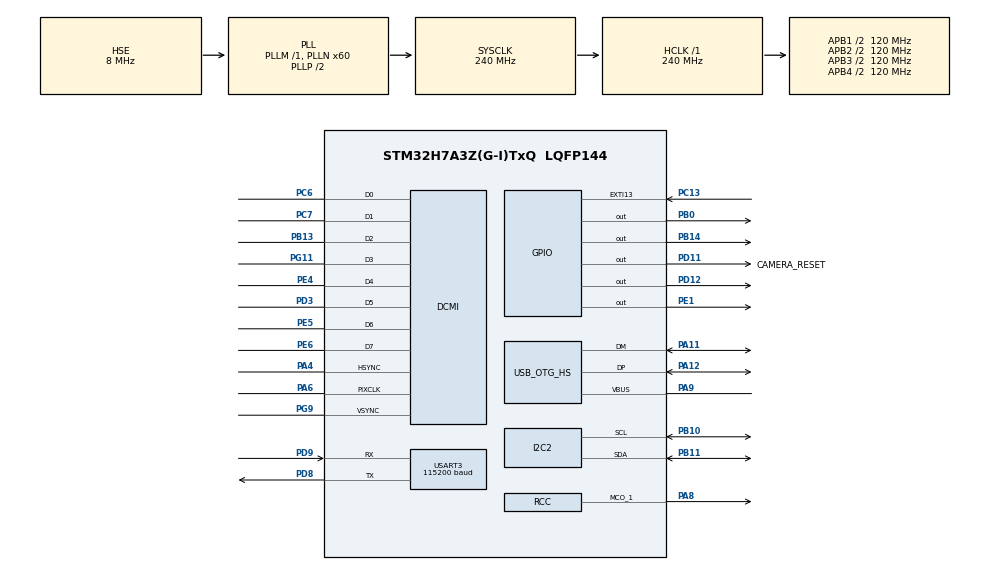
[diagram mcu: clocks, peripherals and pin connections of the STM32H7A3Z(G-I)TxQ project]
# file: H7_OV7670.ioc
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CORTEX_M7.default_mode_Activation=1
DCMI.PCKPolarity=DCMI_PCKPOLARITY_RISING
DCMI.VSPolarity=DCMI_VSPOLARITY_HIGH
Dma.DCMI.0.Direction=DMA_PERIPH_TO_MEMORY
Dma.DCMI.0.EventEnable=DISABLE
Dma.DCMI.0.FIFOMode=DMA_FIFOMODE_DISABLE
Dma.DCMI.0.Instance=DMA1_Stream0
Dma.DCMI.0.MemDataAlignment=DMA_MDATAALIGN_WORD
Dma.DCMI.0.MemInc=DMA_MINC_ENABLE
Dma.DCMI.0.Mode=DMA_NORMAL
Dma.DCMI.0.PeriphDataAlignment=DMA_PDATAALIGN_WORD
Dma.DCMI.0.PeriphInc=DMA_PINC_DISABLE
Dma.DCMI.0.Polarity=HAL_DMAMUX_REQ_GEN_RISING
Dma.DCMI.0.Priority=DMA_PRIORITY_LOW
Dma.DCMI.0.RequestNumber=1
Dma.DCMI.0.SignalID=NONE
Dma.DCMI.0.SyncEnable=DISABLE
Dma.DCMI.0.SyncPolarity=HAL_DMAMUX_SYNC_NO_EVENT
Dma.DCMI.0.SyncRequestNumber=1
Dma.DCMI.0.SyncSignalID=NONE
Dma.Request0=DCMI
I2C2.Timing=0x307075B1
Mcu.Family=STM32H7
Mcu.Name=STM32H7A3Z(G-I)TxQ
Mcu.Package=LQFP144
NVIC.DCMI_PSSI_IRQn=true\:0\:0\:false\:false\:true\:true\:true\:true
NVIC.DMA1_Stream0_IRQn=true\:0\:0\:false\:false\:true\:false\:true\:true
NVIC.EXTI15_10_IRQn=true\:0\:0\:false\:false\:true\:false\:true\:true
NVIC.OTG_HS_IRQn=true\:0\:0\:false\:false\:true\:false\:true\:true
NVIC.PriorityGroup=NVIC_PRIORITYGROUP_4
NVIC.USART3_IRQn=true\:0\:0\:false\:false\:true\:true\:true\:true
PA11.Mode=Device_Only_FS
PA11.Signal=USB_OTG_HS_DM
PA12.Mode=Device_Only_FS
PA12.Signal=USB_OTG_HS_DP
PA4.GPIO_PuPd=GPIO_PULLDOWN
PA4.GPIO_Speed=GPIO_SPEED_FREQ_VERY_HIGH
PA4.Mode=Slave_8_bits_External_Synchro
PA4.Signal=DCMI_HSYNC
PA6.GPIO_PuPd=GPIO_PULLDOWN
PA6.GPIO_Speed=GPIO_SPEED_FREQ_VERY_HIGH
PA6.Mode=Slave_8_bits_External_Synchro
PA6.Signal=DCMI_PIXCLK
PA8.Mode=Clock-out-1
PA8.Signal=RCC_MCO_1
PA9.Mode=Activate_VBUS_FS
PA9.Signal=USB_OTG_HS_VBUS
PB0.Signal=GPIO_Output
PB10.GPIO_Pu=GPIO_PULLUP
PB10.GPIO_Speed=GPIO_SPEED_FREQ_VERY_HIGH
PB10.Mode=I2C
PB10.Signal=I2C2_SCL
PB11.GPIO_Pu=GPIO_PULLUP
PB11.GPIO_Speed=GPIO_SPEED_FREQ_VERY_HIGH
PB11.Mode=I2C
PB11.Signal=I2C2_SDA
PB13.GPIO_PuPd=GPIO_PULLDOWN
PB13.GPIO_Speed=GPIO_SPEED_FREQ_VERY_HIGH
PB13.Mode=Slave_8_bits_External_Synchro
PB13.Signal=DCMI_D2
PB14.Signal=GPIO_Output
PC13.GPIO_PuPd=GPIO_NOPULL
PC13.Signal=GPXTI13
PC14-OSC32_IN.GPIO_Label=OSC32_IN
PC14-OSC32_IN.Signal=RCC_OSC32_IN
PC15-OSC32_OUT.GPIO_Label=OSC32_OUT
PC15-OSC32_OUT.Signal=RCC_OSC32_OUT
PC6.GPIO_PuPd=GPIO_PULLDOWN
PC6.GPIO_Speed=GPIO_SPEED_FREQ_VERY_HIGH
PC6.Mode=Slave_8_bits_External_Synchro
PC6.Signal=DCMI_D0
PC7.GPIO_PuPd=GPIO_PULLDOWN
PC7.GPIO_Speed=GPIO_SPEED_FREQ_VERY_HIGH
PC7.Mode=Slave_8_bits_External_Synchro
PC7.Signal=DCMI_D1
PD11.GPIO_Label=CAMERA_RESET
PD11.Signal=GPIO_Output
PD12.Signal=GPIO_Output
PD3.GPIO_PuPd=GPIO_PULLDOWN
PD3.GPIO_Speed=GPIO_SPEED_FREQ_VERY_HIGH
PD3.Mode=Slave_8_bits_External_Synchro
PD3.Signal=DCMI_D5
PD8.Mode=Asynchronous
PD8.Signal=USART3_TX
PD9.Mode=Asynchronous
PD9.Signal=USART3_RX
PE1.Signal=GPIO_Output
PE4.GPIO_PuPd=GPIO_PULLDOWN
PE4.GPIO_Speed=GPIO_SPEED_FREQ_VERY_HIGH
PE4.Mode=Slave_8_bits_External_Synchro
PE4.Signal=DCMI_D4
PE5.GPIO_PuPd=GPIO_PULLDOWN
PE5.GPIO_Speed=GPIO_SPEED_FREQ_VERY_HIGH
PE5.Mode=Slave_8_bits_External_Synchro
PE5.Signal=DCMI_D6
PE6.GPIO_PuPd=GPIO_PULLDOWN
PE6.GPIO_Speed=GPIO_SPEED_FREQ_VERY_HIGH
PE6.Mode=Slave_8_bits_External_Synchro
PE6.Signal=DCMI_D7
PG11.GPIO_PuPd=GPIO_PULLDOWN
PG11.GPIO_Speed=GPIO_SPEED_FREQ_VERY_HIGH
PG11.Mode=Slave_8_bits_External_Synchro
PG11.Signal=DCMI_D3
PG9.GPIO_PuPd=GPIO_PULLDOWN
PG9.GPIO_Speed=GPIO_SPEED_FREQ_VERY_HIGH
PG9.Mode=Slave_8_bits_External_Synchro
PG9.Signal=DCMI_VSYNC
PH0-OSC_IN.GPIO_Label=PH0-MCU
PH0-OSC_IN.Mode=HSE-External-Clock-Source
PH0-OSC_IN.Signal=RCC_OSC_IN
PH1-OSC_OUT.GPIO_Label=PH1-MCU
PH1-OSC_OUT.Signal=RCC_OSC_OUT
ProjectManager.HeapSize=0x200
ProjectManager.StackSize=0x400
ProjectManager.TargetToolchain=STM32CubeIDE
RCC.ADCFreq_Value=16125000
RCC.APB1Freq_Value=120000000
RCC.APB2Freq_Value=120000000
RCC.APB3Freq_Value=120000000
RCC.APB4Freq_Value=120000000
RCC.CDPPRE=RCC_APB3_DIV2
RCC.CDPPRE1=RCC_APB1_DIV2
RCC.CDPPRE2=RCC_APB2_DIV2
RCC.CortexFreq_Value=240000000
RCC.DIVM1=1
RCC.DIVM3=1
RCC.DIVN1=60
RCC.DIVN3=24
RCC.DIVQ1=5
RCC.DIVQ3=4
RCC.HCLKFreq_Value=240000000
RCC.HSE_VALUE=8000000
RCC.PLLFRACN=0
RCC.PLLSourceVirtual=RCC_PLLSOURCE_HSE
RCC.RCC_MCO1Source=RCC_MCO1SOURCE_PLL1QCLK
RCC.RCC_MCODiv1=RCC_MCODIV_4
RCC.SRDPPRE=RCC_APB4_DIV2
RCC.SYSCLKFreq_VALUE=240000000
RCC.SYSCLKSource=RCC_SYSCLKSOURCE_PLLCLK
RCC.SupplySource=PWR_DIRECT_SMPS_SUPPLY
RCC.USBCLockSelection=RCC_USBCLKSOURCE_PLL3
RCC.USBFreq_Value=48000000
STMicroelectronics.X-CUBE-ALGOBUILD.1.4.0.LibraryCcDSPOoLibraryJjDSPOoLibrary=true
USART3.BaudRate=115200
USART3.VirtualMode-Asynchronous=VM_ASYNC
USB_DEVICE.CLASS_NAME_HS=CDC
USB_DEVICE.VirtualMode=Cdc
USB_DEVICE.VirtualModeHS=Cdc_HS
USB_OTG_HS.VirtualMode-Device_Only_FS=Device_Only_FS
VP_MEMORYMAP_VS_MEMORYMAP.Mode=CurAppReg
VP_STMicroelectronics.X-CUBE-ALGOBUILD_VS_DSPOoLibraryJjLibrary_1.4.0_1.4.0.Mode=DSPOoLibraryJjLibrary
VP_USB_DEVICE_VS_USB_DEVICE_CDC_HS.Mode=CDC_HS
board=NUCLEO-H7A3ZI-Q

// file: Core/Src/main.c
/* USER CODE BEGIN Header */
/**
  ******************************************************************************
  * @file           : main.c
  * @brief          : Main program body
  ******************************************************************************
  * @attention
  *
  * Copyright (c) 2025 STMicroelectronics.
  * All rights reserved.
  *
  * This software is licensed under terms that can be found in the LICENSE file
  * in the root directory of this software component.
  * If no LICENSE file comes with this software, it is provided AS-IS.
  *
  ******************************************************************************
  */
/* USER CODE END Header */
#include "main.h"
#include "usb_device.h"

/* USER CODE BEGIN Includes */
#include <stdio.h>
#include <string.h>
#include <stdarg.h>
#include <math.h>
#include <stdlib.h>
#include "usbd_cdc_if.h"

#include "common.h"
#include "ov7670.h"

#include "core_cm7.h"
#include "arm_math.h"
/* USER CODE END Includes */

/* USER CODE BEGIN PTD */
typedef enum {
  MODE_CAPTURE = 0,
  MODE_SIMULATE = 1,
  MODE_RGB = 2
} operation_mode_t;

typedef struct {
  uint32_t MagicNumber;
  uint32_t Mode;           // operation_mode_t persisted as uint32
  uint32_t MaxFramerate;   // frames per second (ms precision gate)
  uint32_t DisplacedPixelThreshold;
  uint32_t ErrorThreshold;
  uint32_t Reserved[3];
} __attribute__((aligned(32))) AppConfig_t;

typedef struct {
  float dcmi_ms;
  float depth_ms;
  float usb_ms;
  uint32_t displaced_pixels;
  uint8_t has_dcmi;
  uint8_t valid;
} FrameMetricEntry;

/* USER CODE END PTD */

/* USER CODE BEGIN PD */
#define IMG_WIDTH 320
#define IMG_HEIGHT 240

#ifndef M_PI
#define M_PI 3.14159265358979323846f
#endif

#define PHASE_TO_U16_SCALE (10430.378f)	// Used convert floats to normalized uint16_t scale

// --- SIMULATION PARAMETERS ---
// Amplitude (reflectivity). Max is 4095. Must be < OFFSET.
#define SIM_AMPLITUDE 2000.0f
// Offset (ambient light).
#define SIM_OFFSET 2048

// "Depths" as phase angles (in radians)
#define PHASE_WALL_FAR   (M_PI / 1.5f)  //
#define PHASE_WALL_NEAR  (M_PI / 4.0f)  // 45 degrees
#define PHASE_CUBE_OBJ   (M_PI / 2.0f)  // 90 degrees

// Legacy checkerboard/cube parameters kept for reference
#define CHECKER_SIZE 20
#define CUBE_SIZE 40

#define WALL_PHASE_VARIATION 0.12f
#define DOOR_WIDTH 110
#define DOOR_HEIGHT 140
#define DOOR_FRAME_THICKNESS 6
#define DOOR_BOTTOM (IMG_HEIGHT - 45)
#define DOORWAY_DEPTH_BOOST 0.65f
#define DOOR_FRAME_PHASE (PHASE_WALL_NEAR - 0.04f)
#define FLOOR_NEAR_PHASE (0.08f)
#define INTRUDER_WIDTH 10
#define INTRUDER_HEIGHT (INTRUDER_WIDTH * 2)
#define ROOM2_FLOOR_INTERSECT_RATIO 0.25f
#define INTRUDER_FLOOR_CONTACT_RATIO 0.55f
#define INTRUDER_PHASE (PHASE_WALL_NEAR + 0.405f)
#define INTRUDER_SPEED 6
#define SIM_NOISE_PHASE 0.060f

#define CONFIG_FLASH_ADDR       0x081E0000U
#define CONFIG_MAGIC            0xDEADBEEFU
#define MIN_ALLOWED_FRAMERATE   1U
#define MAX_ALLOWED_FRAMERATE   120U
#define DEFAULT_MAX_FRAMERATE   30U
#define METRIC_WINDOW_SIZE      10U
#define MIN_DISPLACED_THRESHOLD  1U
#define MAX_DISPLACED_THRESHOLD  (IMG_WIDTH * IMG_HEIGHT)
#define DEFAULT_DISPLACED_THRESHOLD 1200U
#define MIN_ERROR_THRESHOLD      0U
#define MAX_ERROR_THRESHOLD      65535U
#define DEFAULT_ERROR_THRESHOLD  1820U
/* USER CODE END PD */

DCMI_HandleTypeDef hdcmi;
DMA_HandleTypeDef hdma_dcmi;

I2C_HandleTypeDef hi2c2;

UART_HandleTypeDef huart3;

/* USER CODE BEGIN PV */

#define SINGLE_FRAME_SIZE (IMG_WIDTH * IMG_HEIGHT) // 320*240 = 76800
#define NUM_FRAMES 4

// One giant buffer to hold all 4 frames contiguously
uint16_t quad_frame_buffer[SINGLE_FRAME_SIZE * NUM_FRAMES];

// One buffer to reference frame angles
uint16_t reference_angle_buffer[SINGLE_FRAME_SIZE];

// One buffer for current frame angles
uint16_t current_angle_buffer[SINGLE_FRAME_SIZE];

// Pointers to the start of each frame
uint16_t* p_frame1 = &quad_frame_buffer[SINGLE_FRAME_SIZE * 0];
uint16_t* p_frame2 = &quad_frame_buffer[SINGLE_FRAME_SIZE * 1];
uint16_t* p_frame3 = &quad_frame_buffer[SINGLE_FRAME_SIZE * 2];
uint16_t* p_frame4 = &quad_frame_buffer[SINGLE_FRAME_SIZE * 3];

static const uint32_t kDcmiDmaLength = (SINGLE_FRAME_SIZE * NUM_FRAMES) / 2; // words per HAL call

uint8_t rx_byte = 0;
uint8_t rx_buffer[64];
uint8_t rx_index = 0;

volatile AppConfig_t CurrentConfig;
static operation_mode_t active_mode = (operation_mode_t)0xFF;

static uint32_t frame_interval_ms = 0;
static uint32_t last_frame_processed_tick = 0;

// Flag to tell the main loop the 4-frame set is ready
volatile uint8_t all_frames_ready = 0;
static volatile uint32_t frame_capture_count = 0;

// Button press flag
volatile uint8_t calibration_requested = 0;

// Some timer variables to be used with DWT
volatile uint32_t tDCMI_start, tDCMI_end,
					tUSB_start, tUSB_end,
					tDepthCalc_start, tDepthCalc_end;

extern USBD_HandleTypeDef hUsbDeviceHS;
//uint8_t stream_started = 0; // Not sure why this was here

static volatile uint8_t simulate_cube_visible = 0;

static FrameMetricEntry metrics_window[METRIC_WINDOW_SIZE];
static uint8_t metrics_index = 0;
static uint8_t metrics_filled = 0;
static uint32_t displaced_pixel_threshold = DEFAULT_DISPLACED_THRESHOLD;
static uint16_t error_threshold_counts = DEFAULT_ERROR_THRESHOLD;
static uint8_t intrusion_led_state = 0U;
static uint8_t capture_frames_needed = NUM_FRAMES;
/* USER CODE END PV */

void SystemClock_Config(void);
static void MPU_Config(void);
static void MX_GPIO_Init(void);
static void MX_DMA_Init(void);
static void MX_USART3_UART_Init(void);
static void MX_I2C2_Init(void);
static void MX_DCMI_Init(void);
/* USER CODE BEGIN PFP */
void vprint(const char *fmt, va_list argp);
void my_printf(const char *fmt, ...);
void usb_printf(char *msg);
static void USB_Transmit_Blocking(uint8_t* Buf, uint16_t Len);

void HAL_UART_RxCpltCallback(UART_HandleTypeDef *huart);
uint32_t get_sector(uint32_t Address);
void save_config(void);
void load_config(void);
void apply_mode(operation_mode_t new_mode);
void update_frame_interval(uint32_t fps);
uint8_t frame_rate_gate_allows(uint32_t now_ms);
void ParseCommand(uint8_t* Buf, uint32_t Len);

void DWT_Init(void);
void calculate_depth_simple(void);
uint32_t detect_displacement(void); // returns number of pixels displaced
static void record_frame_metrics(float dcmi_ms, uint8_t dcmi_valid, float depth_ms, float usb_ms, uint32_t displaced_pixels);
static void print_data_log(void);
static uint32_t clamp_displaced_threshold(uint32_t value);
static uint32_t clamp_error_threshold(uint32_t value);
static void refresh_threshold_cache(void);
static void update_intrusion_led(uint8_t active);

void simulate_tof_data(uint8_t show_cube);
static float compute_floor_phase_for_row(int y, float ratio_cap, float floor_denominator, float floor_phase_span);

/* USER CODE END PFP */

int main(void)
{

  /* MPU Configuration--------------------------------------------------------*/
  MPU_Config();

  /* MCU Configuration--------------------------------------------------------*/

  /* Reset of all peripherals, Initializes the Flash interface and the Systick. */
  HAL_Init();

  /* Configure the system clock */
  SystemClock_Config();

  /* Initialize all configured peripherals */
  MX_GPIO_Init();
  MX_DMA_Init();
  MX_USART3_UART_Init();
  MX_I2C2_Init();
  MX_USB_DEVICE_Init();
  MX_DCMI_Init();
  /* USER CODE BEGIN 2 */
  // Don't exactly know why but these caches need to be manually enabled
  SCB_EnableICache();
  SCB_EnableDCache();

  // us timer initialize
  DWT_Init();

  // Camera initialize TODO: significant changes needed when moving to epc660
  HAL_GPIO_WritePin(GPIOD, GPIO_PIN_12, GPIO_PIN_RESET);
  ov7670_init(&hdcmi, &hdma_dcmi, &hi2c2);
  ov7670_config(OV7670_MODE_QVGA_RGB565);
  ov7670_stopCap();

  load_config();
  update_frame_interval(CurrentConfig.MaxFramerate);
  HAL_UART_Receive_IT(&huart3, &rx_byte, 1);

  operation_mode_t requested_mode = (CurrentConfig.Mode <= MODE_RGB) ? (operation_mode_t)CurrentConfig.Mode : MODE_CAPTURE;
  if (requested_mode != (operation_mode_t)CurrentConfig.Mode)
  {
    CurrentConfig.Mode = requested_mode;
    save_config();
  }
  apply_mode(requested_mode);

  // I don't know if the frame header is useful - can be removed later
  const uint8_t FRAME_HEADER[4] = {0xAA, 0x55, 0xAA, 0x55};

  const uint32_t frame_timeout_ms = 1000U;
  uint32_t last_frame_tick = HAL_GetTick();

  float cpu_freq_mhz = (float)HAL_RCC_GetHCLKFreq() / 1000000.0f;

  // Clear flags (These are triggered in callbacks)
  all_frames_ready = 0;
  frame_capture_count = 0;
  update_intrusion_led(0U);

  /* USER CODE END 2 */

  /* Infinite loop */
  /* USER CODE BEGIN WHILE */
  while (1)
  {

      uint32_t now_ms = HAL_GetTick();

      uint8_t frame_source = 0; // 1=capture, 2=simulate

      if (((active_mode == MODE_CAPTURE) || (active_mode == MODE_RGB)) && (all_frames_ready == 1))
      {
        if (frame_rate_gate_allows(now_ms))
        {
          frame_source = 1;
        }
      }
      else if (active_mode == MODE_SIMULATE)
      {
        if (frame_rate_gate_allows(now_ms))
        {
          frame_source = 2;
        }
      }

      if (frame_source != 0)
      {
        last_frame_processed_tick = now_ms;
        float dcmi_capture_ms = 0.0f;
        uint8_t dcmi_sample_valid = 0U;
        float depth_calc_ms = 0.0f;
        uint32_t displaced_pixels = 0U;
        uint8_t is_rgb_mode = (active_mode == MODE_RGB) ? 1U : 0U;

        if (frame_source == 1)
        {
          // End timer for frame capture (happens inside DCMI frame event callback)
          dcmi_capture_ms = (float)(tDCMI_end - tDCMI_start) / cpu_freq_mhz;
          dcmi_sample_valid = 1U;
          all_frames_ready = 0;
          SCB_InvalidateDCache_by_Addr((uint32_t*)quad_frame_buffer, SINGLE_FRAME_SIZE * NUM_FRAMES * 2);
          if (!is_rgb_mode)
          {
            tDepthCalc_start = DWT->CYCCNT;
          }
        }
        else
        {
          tDepthCalc_start = DWT->CYCCNT;
          simulate_tof_data(simulate_cube_visible);
        }

        uint8_t* payload_ptr = (uint8_t*)current_angle_buffer;
        uint32_t payload_bytes = SINGLE_FRAME_SIZE * 2U;

        if (!is_rgb_mode)
        {
          calculate_depth_simple();
          SCB_CleanDCache_by_Addr((uint32_t*)quad_frame_buffer, SINGLE_FRAME_SIZE * NUM_FRAMES * 2);

          if (calibration_requested == 1)
          {
            memcpy(reference_angle_buffer, current_angle_buffer, SINGLE_FRAME_SIZE * 2);
            SCB_CleanDCache_by_Addr((uint32_t*)reference_angle_buffer, SINGLE_FRAME_SIZE * 2);
            calibration_requested = 0;
            my_printf("Reference frame CALIBRATED.\r\n");
          }

          displaced_pixels = detect_displacement();
          uint8_t intrusion_active = (displaced_pixels >= displaced_pixel_threshold) ? 1U : 0U;
          update_intrusion_led(intrusion_active);

          tDepthCalc_end = DWT->CYCCNT;
          depth_calc_ms = (float)(tDepthCalc_end - tDepthCalc_start) / cpu_freq_mhz;
        }
        else
        {
          // RGB passthrough mode: no depth math
          SCB_CleanDCache_by_Addr((uint32_t*)quad_frame_buffer, SINGLE_FRAME_SIZE * NUM_FRAMES * 2);
          if (calibration_requested == 1)
          {
            my_printf("Calibration ignored in MODE_RGB.\r\n");
            calibration_requested = 0;
          }
          update_intrusion_led(0U);
          payload_ptr = (uint8_t*)p_frame1;
        }

        if (!is_rgb_mode)
        {
          payload_ptr = (uint8_t*)current_angle_buffer;
        }

        if (frame_source == 1)
        {
          tDCMI_start = DWT->CYCCNT;
          HAL_DCMI_Start_DMA(&hdcmi, DCMI_MODE_CONTINUOUS, (uint32_t)quad_frame_buffer, kDcmiDmaLength);
        }

        tUSB_start = DWT->CYCCNT;
        while(hUsbDeviceHS.dev_state != USBD_STATE_CONFIGURED);

        USB_Transmit_Blocking((uint8_t*)FRAME_HEADER, 4);

        uint8_t* p_buffer = payload_ptr;
        uint32_t bytes_remaining = payload_bytes;
        uint16_t chunk_size;

        while (bytes_remaining > 0)
        {
          if (bytes_remaining > 65535)
          {
            chunk_size = 65535;
          }
          else
          {
            chunk_size = (uint16_t)bytes_remaining;
          }

          USB_Transmit_Blocking(p_buffer, chunk_size);
          p_buffer += chunk_size;
          bytes_remaining -= chunk_size;
        }

        tUSB_end = DWT->CYCCNT;
        float usb_tx_ms = (float)(tUSB_end - tUSB_start) / cpu_freq_mhz;

        record_frame_metrics(dcmi_capture_ms, dcmi_sample_valid, depth_calc_ms, usb_tx_ms, displaced_pixels);

        last_frame_tick = now_ms;
      }

      if (((active_mode == MODE_CAPTURE) || (active_mode == MODE_RGB)) && (now_ms - last_frame_tick > frame_timeout_ms))
      {
        HAL_DCMI_Stop(&hdcmi);
        HAL_DCMI_DeInit(&hdcmi);
        MX_DCMI_Init();
        HAL_DCMI_Start_DMA(&hdcmi, DCMI_MODE_CONTINUOUS, (uint32_t)quad_frame_buffer, kDcmiDmaLength);
        last_frame_tick = HAL_GetTick();
      }

    /* USER CODE END WHILE */

  }
}

void SystemClock_Config(void)
{
  RCC_OscInitTypeDef RCC_OscInitStruct = {0};
  RCC_ClkInitTypeDef RCC_ClkInitStruct = {0};

  /*AXI clock gating */
  RCC->CKGAENR = 0xE003FFFF;

  /** Supply configuration update enable
  */
  HAL_PWREx_ConfigSupply(PWR_DIRECT_SMPS_SUPPLY);

  /** Configure the main internal regulator output voltage
  */
  __HAL_PWR_VOLTAGESCALING_CONFIG(PWR_REGULATOR_VOLTAGE_SCALE0);

  while(!__HAL_PWR_GET_FLAG(PWR_FLAG_VOSRDY)) {}

  /** Initializes the RCC Oscillators according to the specified parameters
  * in the RCC_OscInitTypeDef structure.
  */
  RCC_OscInitStruct.OscillatorType = RCC_OSCILLATORTYPE_HSE;
  RCC_OscInitStruct.HSEState = RCC_HSE_BYPASS;
  RCC_OscInitStruct.PLL.PLLState = RCC_PLL_ON;
  RCC_OscInitStruct.PLL.PLLSource = RCC_PLLSOURCE_HSE;
  RCC_OscInitStruct.PLL.PLLM = 1;
  RCC_OscInitStruct.PLL.PLLN = 60;
  RCC_OscInitStruct.PLL.PLLP = 2;
  RCC_OscInitStruct.PLL.PLLQ = 5;
  RCC_OscInitStruct.PLL.PLLR = 2;
  RCC_OscInitStruct.PLL.PLLRGE = RCC_PLL1VCIRANGE_3;
  RCC_OscInitStruct.PLL.PLLVCOSEL = RCC_PLL1VCOWIDE;
  RCC_OscInitStruct.PLL.PLLFRACN = 0;
  if (HAL_RCC_OscConfig(&RCC_OscInitStruct) != HAL_OK)
  {
    Error_Handler();
  }

  /** Initializes the CPU, AHB and APB buses clocks
  */
  RCC_ClkInitStruct.ClockType = RCC_CLOCKTYPE_HCLK|RCC_CLOCKTYPE_SYSCLK
                              |RCC_CLOCKTYPE_PCLK1|RCC_CLOCKTYPE_PCLK2
                              |RCC_CLOCKTYPE_D3PCLK1|RCC_CLOCKTYPE_D1PCLK1;
  RCC_ClkInitStruct.SYSCLKSource = RCC_SYSCLKSOURCE_PLLCLK;
  RCC_ClkInitStruct.SYSCLKDivider = RCC_SYSCLK_DIV1;
  RCC_ClkInitStruct.AHBCLKDivider = RCC_HCLK_DIV1;
  RCC_ClkInitStruct.APB3CLKDivider = RCC_APB3_DIV2;
  RCC_ClkInitStruct.APB1CLKDivider = RCC_APB1_DIV2;
  RCC_ClkInitStruct.APB2CLKDivider = RCC_APB2_DIV2;
  RCC_ClkInitStruct.APB4CLKDivider = RCC_APB4_DIV2;

  if (HAL_RCC_ClockConfig(&RCC_ClkInitStruct, FLASH_LATENCY_5) != HAL_OK)
  {
    Error_Handler();
  }
  __HAL_RCC_PLLCLKOUT_ENABLE(RCC_PLL1_DIVQ);
  HAL_RCC_MCOConfig(RCC_MCO1, RCC_MCO1SOURCE_PLL1QCLK, RCC_MCODIV_4);
}

static void MX_DCMI_Init(void)
{

  hdcmi.Instance = DCMI;
  hdcmi.Init.SynchroMode = DCMI_SYNCHRO_HARDWARE;
  hdcmi.Init.PCKPolarity = DCMI_PCKPOLARITY_RISING;
  hdcmi.Init.VSPolarity = DCMI_VSPOLARITY_HIGH;
  hdcmi.Init.HSPolarity = DCMI_HSPOLARITY_LOW;
  hdcmi.Init.CaptureRate = DCMI_CR_ALL_FRAME;
  hdcmi.Init.ExtendedDataMode = DCMI_EXTEND_DATA_8B;
  hdcmi.Init.JPEGMode = DCMI_JPEG_DISABLE;
  hdcmi.Init.ByteSelectMode = DCMI_BSM_ALL;
  hdcmi.Init.ByteSelectStart = DCMI_OEBS_ODD;
  hdcmi.Init.LineSelectMode = DCMI_LSM_ALL;
  hdcmi.Init.LineSelectStart = DCMI_OELS_ODD;
  if (HAL_DCMI_Init(&hdcmi) != HAL_OK)
  {
    Error_Handler();
  }

}

static void MX_I2C2_Init(void)
{

  hi2c2.Instance = I2C2;
  hi2c2.Init.Timing = 0x307075B1;
  hi2c2.Init.OwnAddress1 = 0;
  hi2c2.Init.AddressingMode = I2C_ADDRESSINGMODE_7BIT;
  hi2c2.Init.DualAddressMode = I2C_DUALADDRESS_DISABLE;
  hi2c2.Init.OwnAddress2 = 0;
  hi2c2.Init.OwnAddress2Masks = I2C_OA2_NOMASK;
  hi2c2.Init.GeneralCallMode = I2C_GENERALCALL_DISABLE;
  hi2c2.Init.NoStretchMode = I2C_NOSTRETCH_DISABLE;
  if (HAL_I2C_Init(&hi2c2) != HAL_OK)
  {
    Error_Handler();
  }

  /** Configure Analogue filter
  */
  if (HAL_I2CEx_ConfigAnalogFilter(&hi2c2, I2C_ANALOGFILTER_ENABLE) != HAL_OK)
  {
    Error_Handler();
  }

  /** Configure Digital filter
  */
  if (HAL_I2CEx_ConfigDigitalFilter(&hi2c2, 0) != HAL_OK)
  {
    Error_Handler();
  }

}

static void MX_USART3_UART_Init(void)
{

  huart3.Instance = USART3;
  huart3.Init.BaudRate = 115200;
  huart3.Init.WordLength = UART_WORDLENGTH_8B;
  huart3.Init.StopBits = UART_STOPBITS_1;
  huart3.Init.Parity = UART_PARITY_NONE;
  huart3.Init.Mode = UART_MODE_TX_RX;
  huart3.Init.HwFlowCtl = UART_HWCONTROL_NONE;
  huart3.Init.OverSampling = UART_OVERSAMPLING_16;
  huart3.Init.OneBitSampling = UART_ONE_BIT_SAMPLE_DISABLE;
  huart3.Init.ClockPrescaler = UART_PRESCALER_DIV1;
  huart3.AdvancedInit.AdvFeatureInit = UART_ADVFEATURE_NO_INIT;
  if (HAL_UART_Init(&huart3) != HAL_OK)
  {
    Error_Handler();
  }
  if (HAL_UARTEx_SetTxFifoThreshold(&huart3, UART_TXFIFO_THRESHOLD_1_8) != HAL_OK)
  {
    Error_Handler();
  }
  if (HAL_UARTEx_SetRxFifoThreshold(&huart3, UART_RXFIFO_THRESHOLD_1_8) != HAL_OK)
  {
    Error_Handler();
  }
  if (HAL_UARTEx_DisableFifoMode(&huart3) != HAL_OK)
  {
    Error_Handler();
  }

}

static void MX_DMA_Init(void)
{

  /* DMA controller clock enable */
  __HAL_RCC_DMA1_CLK_ENABLE();

  /* DMA interrupt init */
  /* DMA1_Stream0_IRQn interrupt configuration */
  HAL_NVIC_SetPriority(DMA1_Stream0_IRQn, 0, 0);
  HAL_NVIC_EnableIRQ(DMA1_Stream0_IRQn);

}

static void MX_GPIO_Init(void)
{
  GPIO_InitTypeDef GPIO_InitStruct = {0};

  /* GPIO Ports Clock Enable */
  __HAL_RCC_GPIOE_CLK_ENABLE();
  __HAL_RCC_GPIOC_CLK_ENABLE();
  __HAL_RCC_GPIOH_CLK_ENABLE();
  __HAL_RCC_GPIOA_CLK_ENABLE();
  __HAL_RCC_GPIOB_CLK_ENABLE();
  __HAL_RCC_GPIOD_CLK_ENABLE();
  __HAL_RCC_GPIOG_CLK_ENABLE();

  /*Configure GPIO pin Output Level */
  HAL_GPIO_WritePin(GPIOB, GPIO_PIN_0|GPIO_PIN_14, GPIO_PIN_RESET);

  /*Configure GPIO pin Output Level */
  HAL_GPIO_WritePin(GPIOD, CAMERA_RESET_Pin|GPIO_PIN_12, GPIO_PIN_RESET);

  /*Configure GPIO pin Output Level */
  HAL_GPIO_WritePin(GPIOE, GPIO_PIN_1, GPIO_PIN_RESET);

  /*Configure GPIO pin : PC13 */
  GPIO_InitStruct.Pin = GPIO_PIN_13;
  GPIO_InitStruct.Mode = GPIO_MODE_IT_RISING;
  GPIO_InitStruct.Pull = GPIO_NOPULL;
  HAL_GPIO_Init(GPIOC, &GPIO_InitStruct);

  /*Configure GPIO pins : PB0 PB14 */
  GPIO_InitStruct.Pin = GPIO_PIN_0|GPIO_PIN_14;
  GPIO_InitStruct.Mode = GPIO_MODE_OUTPUT_PP;
  GPIO_InitStruct.Pull = GPIO_NOPULL;
  GPIO_InitStruct.Speed = GPIO_SPEED_FREQ_LOW;
  HAL_GPIO_Init(GPIOB, &GPIO_InitStruct);

  /*Configure GPIO pins : CAMERA_RESET_Pin PD12 */
  GPIO_InitStruct.Pin = CAMERA_RESET_Pin|GPIO_PIN_12;
  GPIO_InitStruct.Mode = GPIO_MODE_OUTPUT_PP;
  GPIO_InitStruct.Pull = GPIO_NOPULL;
  GPIO_InitStruct.Speed = GPIO_SPEED_FREQ_LOW;
  HAL_GPIO_Init(GPIOD, &GPIO_InitStruct);

  /*Configure GPIO pin : PA8 */
  GPIO_InitStruct.Pin = GPIO_PIN_8;
  GPIO_InitStruct.Mode = GPIO_MODE_AF_PP;
  GPIO_InitStruct.Pull = GPIO_NOPULL;
  GPIO_InitStruct.Speed = GPIO_SPEED_FREQ_LOW;
  GPIO_InitStruct.Alternate = GPIO_AF0_MCO;
  HAL_GPIO_Init(GPIOA, &GPIO_InitStruct);

  /*Configure GPIO pin : PE1 */
  GPIO_InitStruct.Pin = GPIO_PIN_1;
  GPIO_InitStruct.Mode = GPIO_MODE_OUTPUT_PP;
  GPIO_InitStruct.Pull = GPIO_NOPULL;
  GPIO_InitStruct.Speed = GPIO_SPEED_FREQ_LOW;
  HAL_GPIO_Init(GPIOE, &GPIO_InitStruct);

  /* EXTI interrupt init*/
  HAL_NVIC_SetPriority(EXTI15_10_IRQn, 0, 0);
  HAL_NVIC_EnableIRQ(EXTI15_10_IRQn);

}

/* USER CODE BEGIN 4 */
/*************************************************** USER DEFINED FUNCTIONS ********************************************************/
/*************************************************** USER DEFINED FUNCTIONS ********************************************************/
/*************************************************** USER DEFINED FUNCTIONS ********************************************************/

void HAL_DCMI_FrameEventCallback(DCMI_HandleTypeDef *hdcmi)
{
  frame_capture_count++;

  if (frame_capture_count >= capture_frames_needed)
  {
	  HAL_DCMI_Stop(hdcmi);
	  all_frames_ready = 1;
	  frame_capture_count = 0;

	  // Stop frame capture timer
	  tDCMI_end = DWT->CYCCNT;
  }
}

void HAL_GPIO_EXTI_Callback(uint16_t GPIO_Pin)
{
  // Check if the interrupt came from our button (PC13)
  if (GPIO_Pin == GPIO_PIN_13)
  {
    simulate_cube_visible = !(simulate_cube_visible);
    my_printf("Simulation intruder %s\r\n", simulate_cube_visible ? "ENABLED" : "DISABLED");
  }
}

void HAL_DCMI_ErrorCallback(DCMI_HandleTypeDef *hdcmi)
{
  if (HAL_DCMI_GetError(hdcmi) == HAL_DCMI_ERROR_OVF)
  {
    my_printf("!!! DCMI OVERRUN ERROR !!!\r\n");
  }
  // You may need to reset the DCMI here
}

void vprint(const char *fmt, va_list argp) {
	char string[200];
	if (0 < vsprintf(string, fmt, argp)) // build string
	{
		HAL_UART_Transmit(&huart3, (uint8_t*) string, strlen(string), 0xffffff); // send message via UART
	}
}

void my_printf(const char *fmt, ...) // custom printf() function
{
	va_list argp;
	va_start(argp, fmt);
	vprint(fmt, argp);
	va_end(argp);
}

void usb_printf(char *msg)
{
	if (hUsbDeviceHS.dev_state == USBD_STATE_CONFIGURED)
	{
	  // 3. Send the data
	  CDC_Transmit_HS((uint8_t*)msg, strlen(msg));
	}
}

static void USB_Transmit_Blocking(uint8_t* Buf, uint16_t Len)
{
    USBD_CDC_HandleTypeDef* hcdc = (USBD_CDC_HandleTypeDef*)hUsbDeviceHS.pClassData;

    // Wait until previous transfer completes
    while (hcdc->TxState != 0)
    {
        // Optionally add a timeout here to avoid infinite lockup
    }

    // Queue new transfer
    CDC_Transmit_HS(Buf, Len);

    // Wait until this one completes
    while (hcdc->TxState != 0)
    {
        // Optionally add small delay for CPU efficiency
    }
}

void DWT_Init(void)
{
  if (!(CoreDebug->DEMCR & CoreDebug_DEMCR_TRCENA_Msk))
  {
    CoreDebug->DEMCR |= CoreDebug_DEMCR_TRCENA_Msk;
  }
  if (!(DWT->CTRL & DWT_CTRL_CYCCNTENA_Msk))
  {
    DWT->CTRL |= DWT_CTRL_CYCCNTENA_Msk;
  }
  DWT->CYCCNT = 0;
}

void calculate_depth_simple(void)
{
    for (int i = 0; i < (320 * 240); i++)
    {
        // 1. Read, cast, and subtract
        float y = (float)p_frame1[i] - (float)p_frame3[i];
        float x = (float)p_frame2[i] - (float)p_frame4[i];

        // 2. Calculate and store
        float phase = atan2f(y, x);

        uint16_t scaled_angle = (uint16_t)((phase + M_PI) * PHASE_TO_U16_SCALE);

        current_angle_buffer[i] = scaled_angle;
    }

}

uint32_t detect_displacement(void)
{
  uint32_t displaced_pixel_count = 0;
  const uint16_t threshold = error_threshold_counts;

  for (int i = 0; i < SINGLE_FRAME_SIZE; i++)
  {
    int32_t diff = abs((int32_t)current_angle_buffer[i] - (int32_t)reference_angle_buffer[i]);
    if (diff > 32768)
    {
      diff = 65536 - diff;
    }

    if (diff > threshold)
    {
      displaced_pixel_count++;
    }
  }
  return displaced_pixel_count;
}

static uint32_t clamp_displaced_threshold(uint32_t value)
{
  if (value < MIN_DISPLACED_THRESHOLD)
  {
    return MIN_DISPLACED_THRESHOLD;
  }
  if (value > MAX_DISPLACED_THRESHOLD)
  {
    return MAX_DISPLACED_THRESHOLD;
  }
  return value;
}

static uint32_t clamp_error_threshold(uint32_t value)
{
  if (value < MIN_ERROR_THRESHOLD)
  {
    return MIN_ERROR_THRESHOLD;
  }
  if (value > MAX_ERROR_THRESHOLD)
  {
    return MAX_ERROR_THRESHOLD;
  }
  return value;
}

static void refresh_threshold_cache(void)
{
  displaced_pixel_threshold = clamp_displaced_threshold(CurrentConfig.DisplacedPixelThreshold);
  error_threshold_counts = (uint16_t)clamp_error_threshold(CurrentConfig.ErrorThreshold);
}

static void update_intrusion_led(uint8_t active)
{
  if (intrusion_led_state == active)
  {
    return;
  }
  HAL_GPIO_WritePin(GPIOE, GPIO_PIN_1, active ? GPIO_PIN_SET : GPIO_PIN_RESET);
  intrusion_led_state = active;
}

static void record_frame_metrics(float dcmi_ms, uint8_t dcmi_valid, float depth_ms, float usb_ms, uint32_t displaced_pixels)
{
  FrameMetricEntry *slot = &metrics_window[metrics_index];
  slot->dcmi_ms = dcmi_ms;
  slot->depth_ms = depth_ms;
  slot->usb_ms = usb_ms;
  slot->displaced_pixels = displaced_pixels;
  slot->has_dcmi = dcmi_valid;
  slot->valid = 1U;

  metrics_index = (metrics_index + 1U) % METRIC_WINDOW_SIZE;
  if (metrics_filled < METRIC_WINDOW_SIZE)
  {
    metrics_filled++;
  }
}

static void print_data_log(void)
{
  if (metrics_filled == 0U)
  {
    my_printf("DATA_LOG: No frame data captured yet.\r\n");
    return;
  }

  float sum_depth = 0.0f;
  float sum_usb = 0.0f;
  float sum_dcmi = 0.0f;
  uint64_t sum_displaced = 0ULL;
  uint8_t dcmi_samples = 0U;

  for (uint8_t i = 0U; i < METRIC_WINDOW_SIZE; i++)
  {
    if (metrics_window[i].valid == 0U)
    {
      continue;
    }

    sum_depth += metrics_window[i].depth_ms;
    sum_usb += metrics_window[i].usb_ms;
    sum_displaced += metrics_window[i].displaced_pixels;

    if (metrics_window[i].has_dcmi)
    {
      sum_dcmi += metrics_window[i].dcmi_ms;
      dcmi_samples++;
    }
  }

  float depth_avg = sum_depth / (float)metrics_filled;
  float usb_avg = sum_usb / (float)metrics_filled;
  float displaced_avg = (float)sum_displaced / (float)metrics_filled;

  if (dcmi_samples > 0U)
  {
    my_printf("Avg DCMI capture (%u frames): %.3f ms\r\n", dcmi_samples, sum_dcmi / (float)dcmi_samples);
  }
  else
  {
    my_printf("Avg DCMI capture: N/A (no capture frames)\r\n");
  }

  my_printf("Avg depth calc (%u frames): %.3f ms\r\n", metrics_filled, depth_avg);
  my_printf("Avg USB TX (%u frames): %.3f ms\r\n", metrics_filled, usb_avg);
  my_printf("Avg displaced pixels (%u frames): %.1f\r\n", metrics_filled, displaced_avg);
}

void HAL_UART_RxCpltCallback(UART_HandleTypeDef *huart)
{
  if (huart->Instance == USART3)
  {
    if (rx_byte == '\n' || rx_byte == '\r')
    {
      if (rx_index > 0)
      {
        rx_buffer[rx_index] = '\0';
        ParseCommand(rx_buffer, rx_index);
      }
      rx_index = 0;
      memset(rx_buffer, 0, sizeof(rx_buffer));
    }
    else if ((rx_byte < 0x20U) && (rx_byte != '\t'))
    {
    // Ignore leading control characters (e.g. stray 0x00 from VCP connect)
    }
    else if (rx_index < sizeof(rx_buffer) - 1)
    {
      rx_buffer[rx_index++] = rx_byte;
    }

    HAL_UART_Receive_IT(&huart3, &rx_byte, 1);
  }
}

uint32_t get_sector(uint32_t Address)
{
  uint32_t offset = Address - 0x08000000U;
  if (offset >= 0x100000U)
  {
    return (offset - 0x100000U) / 0x2000U;
  }
  return offset / 0x2000U;
}

void save_config(void)
{
  HAL_FLASH_Unlock();

  FLASH_EraseInitTypeDef EraseInitStruct = {0};
  uint32_t SectorError = 0;

  EraseInitStruct.TypeErase = FLASH_TYPEERASE_SECTORS;
  EraseInitStruct.Banks = FLASH_BANK_2;
  EraseInitStruct.Sector = get_sector(CONFIG_FLASH_ADDR);
  EraseInitStruct.NbSectors = 1;

  if (HAL_FLASHEx_Erase(&EraseInitStruct, &SectorError) != HAL_OK)
  {
    my_printf("Erase Failed: %lu\r\n", SectorError);
    HAL_FLASH_Lock();
    return;
  }

  if (HAL_FLASH_Program(FLASH_TYPEPROGRAM_FLASHWORD, CONFIG_FLASH_ADDR, (uint32_t)&CurrentConfig) != HAL_OK)
  {
    my_printf("Program Failed\r\n");
  }

  HAL_FLASH_Lock();
}

void load_config(void)
{
  AppConfig_t *flash_cfg = (AppConfig_t *)CONFIG_FLASH_ADDR;
  uint8_t needs_save = 0;

  if (flash_cfg->MagicNumber == CONFIG_MAGIC)
  {
    memcpy((void*)&CurrentConfig, flash_cfg, sizeof(AppConfig_t));
  }
  else
  {
    memset((void*)&CurrentConfig, 0, sizeof(AppConfig_t));
    CurrentConfig.MagicNumber = CONFIG_MAGIC;
    CurrentConfig.Mode = MODE_CAPTURE;
    CurrentConfig.MaxFramerate = DEFAULT_MAX_FRAMERATE;
    CurrentConfig.DisplacedPixelThreshold = DEFAULT_DISPLACED_THRESHOLD;
    CurrentConfig.ErrorThreshold = DEFAULT_ERROR_THRESHOLD;
    needs_save = 1;
  }

  if (CurrentConfig.Mode > MODE_RGB)
  {
    CurrentConfig.Mode = MODE_CAPTURE;
    needs_save = 1;
  }

  if ((CurrentConfig.MaxFramerate > MAX_ALLOWED_FRAMERATE) && (CurrentConfig.MaxFramerate != 0))
  {
    CurrentConfig.MaxFramerate = MAX_ALLOWED_FRAMERATE;
    needs_save = 1;
  }

  if (CurrentConfig.MaxFramerate == 0)
  {
    // 0 is treated as unlimited; nothing to clamp
  }
  else if (CurrentConfig.MaxFramerate < MIN_ALLOWED_FRAMERATE)
  {
    CurrentConfig.MaxFramerate = MIN_ALLOWED_FRAMERATE;
    needs_save = 1;
  }

  if ((CurrentConfig.DisplacedPixelThreshold < MIN_DISPLACED_THRESHOLD) ||
      (CurrentConfig.DisplacedPixelThreshold > MAX_DISPLACED_THRESHOLD))
  {
    CurrentConfig.DisplacedPixelThreshold = DEFAULT_DISPLACED_THRESHOLD;
    needs_save = 1;
  }

  if ((CurrentConfig.ErrorThreshold < MIN_ERROR_THRESHOLD) ||
      (CurrentConfig.ErrorThreshold > MAX_ERROR_THRESHOLD))
  {
    CurrentConfig.ErrorThreshold = DEFAULT_ERROR_THRESHOLD;
    needs_save = 1;
  }

  if (needs_save)
  {
    save_config();
  }

  refresh_threshold_cache();
}

void apply_mode(operation_mode_t new_mode)
{
  if (new_mode > MODE_RGB)
  {
    new_mode = MODE_CAPTURE;
  }

  HAL_DCMI_Stop(&hdcmi);
  frame_capture_count = 0;
  all_frames_ready = 0;

  capture_frames_needed = (new_mode == MODE_RGB) ? 1U : NUM_FRAMES;

  if (new_mode == MODE_CAPTURE || new_mode == MODE_RGB)
  {
    HAL_DCMI_Start_DMA(&hdcmi, DCMI_MODE_CONTINUOUS, (uint32_t)quad_frame_buffer, kDcmiDmaLength);
  }

  if (active_mode != new_mode)
  {
    const char *mode_name = (new_mode == MODE_CAPTURE) ? "MODE_CAPTURE" :
                           (new_mode == MODE_SIMULATE ? "MODE_SIMULATE" : "MODE_RGB");
    my_printf("Switched to %s\r\n", mode_name);
  }

  active_mode = new_mode;
}

void update_frame_interval(uint32_t fps)
{
  frame_interval_ms = (fps == 0U) ? 0U : (1000U / fps);
  if (frame_interval_ms == 0U && fps != 0U)
  {
    frame_interval_ms = 1U;
  }

  if (frame_interval_ms == 0U)
  {
    last_frame_processed_tick = 0U;
  }
  else
  {
    uint32_t now = HAL_GetTick();
    last_frame_processed_tick = (now > frame_interval_ms) ? (now - frame_interval_ms) : 0U;
  }
}

uint8_t frame_rate_gate_allows(uint32_t now_ms)
{
  if (frame_interval_ms == 0)
  {
    return 1;
  }
  return (uint8_t)((now_ms - last_frame_processed_tick) >= frame_interval_ms);
}

void ParseCommand(uint8_t* Buf, uint32_t Len)
{
  if (Len == 0)
  {
    return;
  }

  my_printf("Command: %s\r\n", Buf);

  if (strncmp((char*)Buf, "MODE_CAPTURE", 12) == 0)
  {
    if (CurrentConfig.Mode != MODE_CAPTURE)
    {
      CurrentConfig.Mode = MODE_CAPTURE;
      save_config();
    }
    apply_mode(MODE_CAPTURE);
  }
  else if (strncmp((char*)Buf, "MODE_SIMULATE", 13) == 0)
  {
    if (CurrentConfig.Mode != MODE_SIMULATE)
    {
      CurrentConfig.Mode = MODE_SIMULATE;
      save_config();
    }
    apply_mode(MODE_SIMULATE);
  }
  else if (strncmp((char*)Buf, "MODE_RGB", 8) == 0)
  {
    if (CurrentConfig.Mode != MODE_RGB)
    {
      CurrentConfig.Mode = MODE_RGB;
      save_config();
    }
    apply_mode(MODE_RGB);
  }
  else if (strncmp((char*)Buf, "MAX_FRAMERATE=", 14) == 0)
  {
    uint32_t fps = (uint32_t)strtoul((char*)Buf + 14, NULL, 10);
    if (fps == 0)
    {
      CurrentConfig.MaxFramerate = 0;
    }
    else
    {
      if (fps > MAX_ALLOWED_FRAMERATE)
      {
        fps = MAX_ALLOWED_FRAMERATE;
      }
      if (fps < MIN_ALLOWED_FRAMERATE)
      {
        fps = MIN_ALLOWED_FRAMERATE;
      }
      CurrentConfig.MaxFramerate = fps;
    }
    save_config();
    update_frame_interval(CurrentConfig.MaxFramerate);
    my_printf("MAX_FRAMERATE set to %lu\r\n", (unsigned long)CurrentConfig.MaxFramerate);
  }
  else if (strncmp((char*)Buf, "CALIBRATE", 9) == 0)
  {
    calibration_requested = 1;
    my_printf("Calibration request queued\r\n");
  }
  else if (strncmp((char*)Buf, "DISPLACED_THRESHOLD=", 20) == 0)
  {
    uint32_t threshold = (uint32_t)strtoul((char*)Buf + 20, NULL, 10);
    threshold = clamp_displaced_threshold(threshold);
    CurrentConfig.DisplacedPixelThreshold = threshold;
    displaced_pixel_threshold = threshold;
    save_config();
    my_printf("DISPLACED_THRESHOLD set to %lu\r\n", (unsigned long)threshold);
  }
  else if (strncmp((char*)Buf, "ERROR_THRESHOLD=", 16) == 0)
  {
    uint32_t threshold = (uint32_t)strtoul((char*)Buf + 16, NULL, 10);
    threshold = clamp_error_threshold(threshold);
    CurrentConfig.ErrorThreshold = threshold;
    error_threshold_counts = (uint16_t)threshold;
    save_config();
    my_printf("ERROR_THRESHOLD set to %lu\r\n", (unsigned long)threshold);
  }
  else if (strncmp((char*)Buf, "DATA_LOG", 8) == 0)
  {
    print_data_log();
  }
  else
  {
    my_printf("Unknown command: %s\r\n", Buf);
  }
}

void simulate_tof_data(uint8_t show_cube)
{
  float phase_to_use;
  uint16_t amp = (uint16_t)SIM_AMPLITUDE;
  uint16_t offset = (uint16_t)SIM_OFFSET;

  const int door_center_x = IMG_WIDTH / 2;
  const int door_half_w = DOOR_WIDTH / 2;
  const int door_bottom = DOOR_BOTTOM;
  const int door_top = door_bottom - DOOR_HEIGHT;
  const int door_center_y = (door_top + door_bottom) / 2;
  int door_inner_left = door_center_x - door_half_w + DOOR_FRAME_THICKNESS;
  int door_inner_right = door_center_x + door_half_w - DOOR_FRAME_THICKNESS;
  int door_inner_top = door_top + DOOR_FRAME_THICKNESS;
  int door_inner_bottom = door_bottom;
  if (door_inner_left < 0)
  {
    door_inner_left = 0;
  }
  if (door_inner_right >= IMG_WIDTH)
  {
    door_inner_right = IMG_WIDTH - 1;
  }
  if (door_inner_right <= door_inner_left)
  {
    door_inner_right = door_inner_left + 1;
  }
  if (door_inner_top < 0)
  {
    door_inner_top = 0;
  }
  if (door_inner_top >= door_inner_bottom)
  {
    door_inner_top = door_inner_bottom - 1;
  }
  const int floor_start = door_bottom;
  const float wall_phase = PHASE_WALL_NEAR;
  const float floor_phase_span = wall_phase - FLOOR_NEAR_PHASE;
  const float floor_denominator = (float)((IMG_HEIGHT - 1) - floor_start);

  int floor_meet_y = door_bottom - (int)((float)DOOR_HEIGHT * ROOM2_FLOOR_INTERSECT_RATIO);
  if (floor_meet_y < door_top)
  {
    floor_meet_y = door_top;
  }
  if (floor_meet_y > door_bottom)
  {
    floor_meet_y = door_bottom;
  }

  float room2_floor_ratio_target = 1.0f;
  if (floor_denominator > 0.0f)
  {
    room2_floor_ratio_target = (float)(IMG_HEIGHT - 1 - floor_meet_y) / floor_denominator;
    room2_floor_ratio_target = fmaxf(room2_floor_ratio_target, 1.0f);
  }

  const float room2_wall_phase = compute_floor_phase_for_row(floor_meet_y,
                                                             room2_floor_ratio_target,
                                                             floor_denominator,
                                                             floor_phase_span);

  int intruder_bottom_y = floor_meet_y + (int)((door_bottom - floor_meet_y) * INTRUDER_FLOOR_CONTACT_RATIO);
  if (intruder_bottom_y < floor_meet_y)
  {
    intruder_bottom_y = floor_meet_y;
  }
  if (intruder_bottom_y > door_bottom)
  {
    intruder_bottom_y = door_bottom;
  }

  int intruder_top_y = intruder_bottom_y - INTRUDER_HEIGHT;
  if (intruder_top_y < door_inner_top)
  {
    intruder_top_y = door_inner_top;
  }
  if (intruder_top_y >= intruder_bottom_y)
  {
    intruder_top_y = intruder_bottom_y - 1;
    if (intruder_top_y < door_inner_top)
    {
      intruder_top_y = door_inner_top;
      intruder_bottom_y = intruder_top_y + 1;
    }
  }

  const float intruder_bottom_phase = compute_floor_phase_for_row(intruder_bottom_y,
                                                                  room2_floor_ratio_target,
                                                                  floor_denominator,
                                                                  floor_phase_span);

  static int intruder_x = -INTRUDER_WIDTH;
  static uint32_t noise_state = 0x13579BDFu;

  if (!show_cube)
  {
    intruder_x = door_inner_left - INTRUDER_WIDTH;
  }
  else
  {
    intruder_x += INTRUDER_SPEED;
    int reset_x = door_inner_right + INTRUDER_WIDTH;
    int start_x = door_inner_left - INTRUDER_WIDTH;

    if (intruder_x > reset_x)
    {
      intruder_x = start_x;
    }
  }

  // Loop over every pixel
  for (int y = 0; y < IMG_HEIGHT; y++)
  {
    for (int x = 0; x < IMG_WIDTH; x++)
    {
      // Start with the near wall depth as the default
      phase_to_use = wall_phase;

      // Ramp the floor depth from camera (bottom) up to the wall seam
      if (y >= floor_start)
      {
        phase_to_use = compute_floor_phase_for_row(y, 1.0f, floor_denominator, floor_phase_span);
      }

      int dx = x - door_center_x;
      int inside_door = (abs(dx) <= door_half_w) && (y >= door_top) && (y <= door_bottom);
      int on_frame = (abs(abs(dx) - door_half_w) < DOOR_FRAME_THICKNESS && y >= door_top && y <= door_bottom) ||
               (y >= door_top && y < door_top + DOOR_FRAME_THICKNESS && abs(dx) <= door_half_w);

      if (on_frame)
      {
        phase_to_use = DOOR_FRAME_PHASE;
      }
      else if (inside_door)
      {
        if (y >= floor_meet_y)
        {
          phase_to_use = compute_floor_phase_for_row(y, room2_floor_ratio_target, floor_denominator, floor_phase_span);
        }
        else
        {
          phase_to_use = room2_wall_phase;
        }
      }

      int intruder_in_row = (y >= intruder_top_y) && (y <= intruder_bottom_y);
      int intruder_in_col = (x >= intruder_x) && (x < (intruder_x + INTRUDER_WIDTH));
      int inside_door_opening = (x >= door_inner_left) && (x <= door_inner_right) &&
                                (y >= door_inner_top) && (y <= door_inner_bottom);
      int intruder_in_aperture = intruder_in_row && intruder_in_col && inside_door_opening;
      if (show_cube && intruder_in_aperture)
      {
        float intruder_phase = INTRUDER_PHASE;
        if (intruder_bottom_y > intruder_top_y)
        {
          float span = (float)(intruder_bottom_y - intruder_top_y);
          float mix = (float)(y - intruder_top_y) / span;
          mix = fminf(fmaxf(mix, 0.0f), 1.0f);
          intruder_phase = INTRUDER_PHASE + mix * (intruder_bottom_phase - INTRUDER_PHASE);
        }
        phase_to_use = intruder_phase;
      }

      // Inject lightweight pseudo-random noise (after object logic so every region shares the same variance)
      noise_state = noise_state * 1664525u + 1013904223u;
      int16_t noise_raw = (int16_t)(noise_state >> 16);
      float noise = ((float)noise_raw / 32768.0f) * SIM_NOISE_PHASE;
      phase_to_use += noise;

      // --- 2. Calculate the four frame values for this pixel ---
      float sinP = sinf(phase_to_use);
      float cosP = cosf(phase_to_use);
      int idx = (y * IMG_WIDTH) + x;

      p_frame1[idx] = offset + (uint16_t)(amp * sinP);
      p_frame2[idx] = offset + (uint16_t)(amp * cosP);
      p_frame3[idx] = offset - (uint16_t)(amp * sinP);
      p_frame4[idx] = offset - (uint16_t)(amp * cosP);
    }
  }
}

static float compute_floor_phase_for_row(int y, float ratio_cap, float floor_denominator, float floor_phase_span)
{
  if (floor_denominator <= 0.0f || floor_phase_span <= 0.0f)
  {
    return FLOOR_NEAR_PHASE;
  }

  float ratio = (float)(IMG_HEIGHT - 1 - y) / floor_denominator;
  ratio = fminf(fmaxf(ratio, 0.0f), ratio_cap);

  return FLOOR_NEAR_PHASE + ratio * floor_phase_span;
}

#define CHUNK_SIZE 256

/*************************************************** USER DEFINED FUNCTIONS ********************************************************/
/*************************************************** USER DEFINED FUNCTIONS ********************************************************/
/*************************************************** USER DEFINED FUNCTIONS ********************************************************/
/* USER CODE END 4 */

 /* MPU Configuration */

void MPU_Config(void)
{
  MPU_Region_InitTypeDef MPU_InitStruct = {0};

  /* Disables the MPU */
  HAL_MPU_Disable();

  /** Initializes and configures the Region and the memory to be protected
  */
  MPU_InitStruct.Enable = MPU_REGION_ENABLE;
  MPU_InitStruct.Number = MPU_REGION_NUMBER0;
  MPU_InitStruct.BaseAddress = 0x0;
  MPU_InitStruct.Size = MPU_REGION_SIZE_4GB;
  MPU_InitStruct.SubRegionDisable = 0x87;
  MPU_InitStruct.TypeExtField = MPU_TEX_LEVEL0;
  MPU_InitStruct.AccessPermission = MPU_REGION_NO_ACCESS;
  MPU_InitStruct.DisableExec = MPU_INSTRUCTION_ACCESS_DISABLE;
  MPU_InitStruct.IsShareable = MPU_ACCESS_SHAREABLE;
  MPU_InitStruct.IsCacheable = MPU_ACCESS_NOT_CACHEABLE;
  MPU_InitStruct.IsBufferable = MPU_ACCESS_NOT_BUFFERABLE;

  HAL_MPU_ConfigRegion(&MPU_InitStruct);
  /* Enables the MPU */
  HAL_MPU_Enable(MPU_PRIVILEGED_DEFAULT);

}

void Error_Handler(void)
{
  __disable_irq();
  while (1)
  {
  }
}
